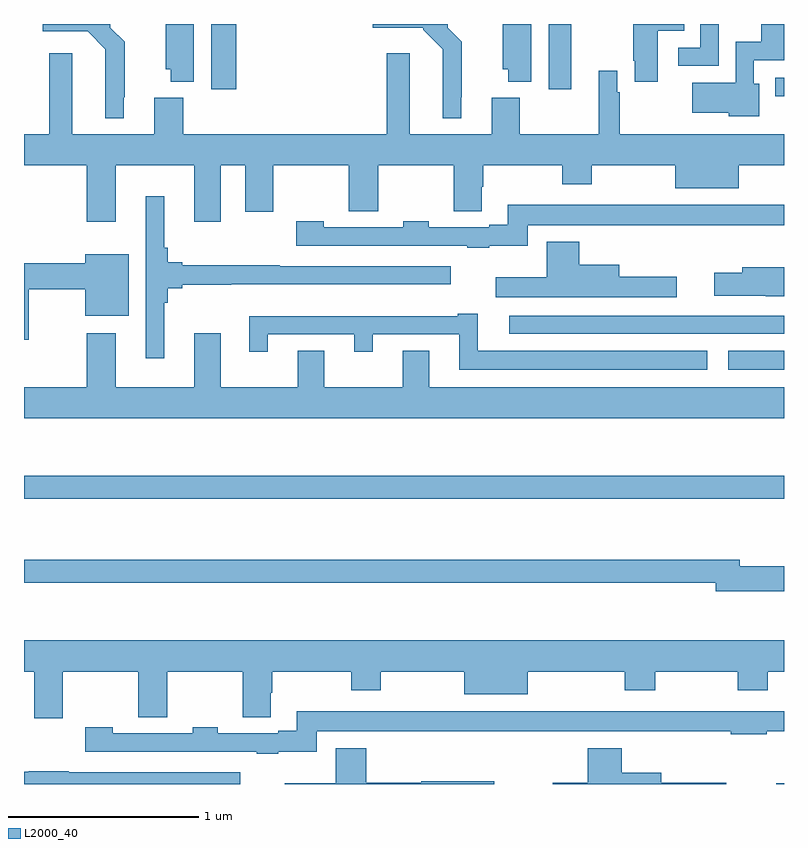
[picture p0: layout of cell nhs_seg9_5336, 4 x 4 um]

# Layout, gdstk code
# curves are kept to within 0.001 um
import gdstk
lib = gdstk.Library(unit=1e-6, precision=1e-09)
def R(c, l, rs):  # rectangles x0, y0, x1, y1
    for r in rs: c.add(gdstk.rectangle(r[:2], r[2:], *l))
def P(c, l, *ps):  # polygons
    for p in ps: c.add(gdstk.Polygon(p, *l))
L2000_40 = (2000, 40)

nhs_seg9_5336 = lib.new_cell('nhs_seg9_5336')
R(nhs_seg9_5336, L2000_40, [(424.959,1190.5,425,1190.504), (421,1192.002,425,1192.123), (424.707,1192.679,425,1192.78), (423.555,1192.869,425,1192.965), (424.955,1194.119,425,1194.216), (421.985,1194.156,422.117,1194.5), (423.761,1194.156,423.88,1194.5)])
P(nhs_seg9_5336, L2000_40, [(421.525,1194.115),(421.529,1194.115),(421.529,1194.406),(421.455,1194.48),(421.455,1194.5),(421.098,1194.5),(421.098,1194.461),(421.335,1194.461),(421.428,1194.368),(421.427,1194.005),(421.525,1194.005)],
  [(421.894,1194.5),(421.745,1194.5),(421.745,1194.261),(421.772,1194.261),(421.772,1194.197),(421.894,1194.197)],
  [(424.656,1194.5),(424.56,1194.5),(424.56,1194.375),(424.443,1194.375),(424.443,1194.279),(424.656,1194.279)],
  [(423.301,1194.115),(423.305,1194.115),(423.305,1194.406),(423.231,1194.48),(423.231,1194.5),(422.835,1194.5),(422.835,1194.479),(423.102,1194.479),(423.102,1194.47),(423.204,1194.368),(423.203,1194.005),(423.301,1194.005)],
  [(424.87,1194.186),(424.842,1194.186),(424.842,1194.309),(425,1194.309),(425,1194.5),(424.88,1194.5),(424.88,1194.406),(424.746,1194.406),(424.746,1194.19),(424.518,1194.19),(424.518,1194.032),(424.71,1194.032),(424.71,1194.014),(424.87,1194.014)],
  [(424.336,1194.464),(424.475,1194.464),(424.475,1194.5),(424.207,1194.5),(424.207,1194.307),(424.214,1194.307),(424.214,1194.195),(424.336,1194.195)],
  [(423.67,1194.5),(423.521,1194.5),(423.521,1194.261),(423.548,1194.261),(423.548,1194.197),(423.67,1194.197)],
  [(421.483,1193.756),(421.895,1193.756),(421.895,1193.46),(422.035,1193.46),(422.035,1193.756),(422.165,1193.756),(422.165,1193.511),(422.313,1193.511),(422.313,1193.756),(422.71,1193.756),(422.71,1193.515),(422.864,1193.515),(422.864,1193.756),(423.262,1193.756),(423.262,1193.515),(423.409,1193.515),(423.409,1193.644),(423.417,1193.644),(423.417,1193.756),(423.832,1193.756),(423.832,1193.657),(423.987,1193.657),(423.987,1193.756),(424.427,1193.756),(424.427,1193.636),(424.762,1193.636),(424.762,1193.756),(425,1193.756),(425,1193.92),(424.135,1193.92),(424.135,1194.14),(424.122,1194.14),(424.122,1194.253),(424.025,1194.253),(424.025,1193.92),(423.609,1193.92),(423.609,1194.112),(423.461,1194.112),(423.461,1193.92),(423.031,1193.92),(423.031,1194.346),(422.909,1194.346),(422.909,1193.92),(421.838,1193.92),(421.838,1194.112),(421.685,1194.112),(421.685,1193.92),(421.255,1193.92),(421.255,1194.346),(421.133,1194.346),(421.133,1193.92),(421,1193.92),(421,1193.756),(421.331,1193.756),(421.331,1193.46),(421.483,1193.46)],
  [(421.738,1193.033),(421.757,1193.033),(421.757,1193.11),(421.834,1193.11),(421.834,1193.128),(422.09,1193.128),(422.09,1193.129),(423.247,1193.129),(423.247,1193.226),(422.345,1193.226),(422.345,1193.231),(422.134,1193.231),(422.134,1193.229),(421.834,1193.229),(421.834,1193.246),(421.757,1193.246),(421.757,1193.323),(421.738,1193.323),(421.738,1193.593),(421.641,1193.593),(421.641,1192.74),(421.738,1192.74)],
  [(423.448,1193.333),(423.652,1193.333),(423.652,1193.441),(425,1193.441),(425,1193.548),(423.545,1193.548),(423.545,1193.443),(423.449,1193.443),(423.449,1193.43),(423.129,1193.43),(423.129,1193.463),(422.997,1193.463),(422.997,1193.43),(422.577,1193.43),(422.577,1193.463),(422.433,1193.463),(422.433,1193.334),(423.334,1193.334),(423.334,1193.322),(423.448,1193.322)],
  [(424.435,1193.17),(424.132,1193.17),(424.132,1193.233),(423.923,1193.233),(423.923,1193.353),(423.752,1193.353),(423.752,1193.167),(423.483,1193.167),(423.483,1193.063),(424.435,1193.063)],
  [(421.024,1193.104),(421.322,1193.104),(421.322,1192.964),(421.552,1192.964),(421.552,1193.287),(421.322,1193.287),(421.322,1193.24),(421,1193.24),(421,1192.839),(421.024,1192.839)],
  [(425,1193.221),(424.781,1193.221),(424.781,1193.191),(424.632,1193.191),(424.632,1193.069),(424.905,1193.069),(424.905,1193.066),(425,1193.066)],
  [(424.597,1192.78),(423.388,1192.78),(423.388,1192.975),(423.284,1192.975),(423.284,1192.963),(422.186,1192.963),(422.186,1192.776),(422.284,1192.776),(422.284,1192.866),(422.738,1192.866),(422.738,1192.776),(422.836,1192.776),(422.836,1192.866),(423.29,1192.866),(423.29,1192.679),(424.597,1192.679)],
  [(425,1192.588),(423.133,1192.588),(423.133,1192.781),(422.993,1192.781),(422.993,1192.588),(422.581,1192.588),(422.581,1192.781),(422.441,1192.781),(422.441,1192.588),(422.035,1192.588),(422.035,1192.873),(421.895,1192.873),(421.895,1192.588),(421.483,1192.588),(421.483,1192.873),(421.331,1192.873),(421.331,1192.588),(421,1192.588),(421,1192.424),(425,1192.424)],
  [(425,1191.645),(424.768,1191.645),(424.768,1191.679),(421,1191.679),(421,1191.558),(424.64,1191.558),(424.64,1191.515),(425,1191.515)],
  [(421.203,1191.092),(421.6,1191.092),(421.6,1190.851),(421.754,1190.851),(421.754,1191.092),(422.152,1191.092),(422.152,1190.851),(422.299,1190.851),(422.299,1190.98),(422.307,1190.98),(422.307,1191.092),(422.722,1191.092),(422.722,1190.993),(422.877,1190.993),(422.877,1191.092),(423.317,1191.092),(423.317,1190.972),(423.652,1190.972),(423.652,1191.092),(424.163,1191.092),(424.163,1190.993),(424.323,1190.993),(424.323,1191.092),(424.756,1191.092),(424.756,1190.993),(424.914,1190.993),(424.914,1191.092),(425,1191.092),(425,1191.256),(421,1191.256),(421,1191.092),(421.055,1191.092),(421.055,1190.847),(421.203,1190.847)],
  [(422.338,1190.669),(422.542,1190.669),(422.542,1190.777),(424.719,1190.777),(424.719,1190.762),(424.91,1190.762),(424.91,1190.777),(425,1190.777),(425,1190.884),(422.435,1190.884),(422.435,1190.779),(422.339,1190.779),(422.339,1190.766),(422.019,1190.766),(422.019,1190.799),(421.887,1190.799),(421.887,1190.766),(421.467,1190.766),(421.467,1190.799),(421.323,1190.799),(421.323,1190.67),(422.224,1190.67),(422.224,1190.658),(422.338,1190.658)],
  [(424.696,1190.506),(424.354,1190.506),(424.354,1190.56),(424.145,1190.56),(424.145,1190.689),(423.967,1190.689),(423.967,1190.506),(423.783,1190.506),(423.783,1190.5),(424.696,1190.5)],
  [(423.475,1190.515),(423.09,1190.515),(423.09,1190.506),(422.8,1190.506),(422.8,1190.689),(422.642,1190.689),(422.642,1190.503),(422.373,1190.503),(422.373,1190.5),(423.475,1190.5)],
  [(422.137,1190.562),(421.235,1190.562),(421.235,1190.567),(421.024,1190.567),(421.024,1190.565),(421,1190.565),(421,1190.5),(422.137,1190.5)])

lib.write_gds('nhs_seg9_5336.gds')
